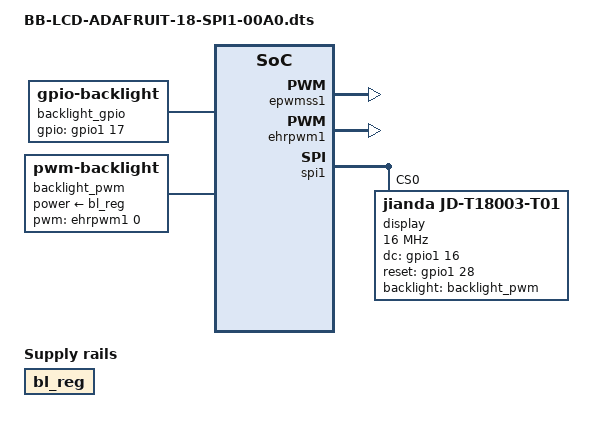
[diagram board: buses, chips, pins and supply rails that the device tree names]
/*
 * Copyright (C) 2013 CircuitCo
 * Copyright (C) 2018 Drew Fustini <drew@beagleboard.org>
 *
 * Adafruit 1.8" TFT LCD on SPI1 bus using tinydrm st7735r driver
 *
 * LICENSE:
 * --------
 * This program is free software; you can redistribute it and/or modify
 * it under the terms of the GNU General Public License version 2 as
 * published by the Free Software Foundation.
 *
 * DOCUMENTATION:
 * --------------
 * This file was copied from src/arm/BB-SPIDEV1-00A0.dts and modified
 * by Drew Fustini based on an exmample from David Lechner.
 *
 * This is the Adafruit 1.8" TFT LCD:
 * https://www.adafruit.com/products/358
 *
 * It should be connected to BeagleBone SPI1 bus:
 *
 *   P9.12 <--> reset
 *   P9.14 <--> lite (pwm) [OPTIONAL]
 *   P9.15 <--> dc
 *   P9.23 <--> lite (gpio) [OPTIONAL]
 *   P9.28 <--> tft_cs
 *   P9.30 <--> mosi
 *   P9.31 <--> clk
 *
 * This overlay will load the mainline tinydrm st7735r driver by David Lechner:
 * https://github.com/torvalds/linux/blob/master/drivers/gpu/drm/tinydrm/st7735r.c
 *
 * Tested with 4.16.0-rc2-bone3 kernel on Debian 9.3 image
 *
 * Run libdrm modetest for colorbar test based on instructions from:
 * https://github.com/notro/tinydrm/wiki/Development#modetest
 *
 * modetest -M "st7735r" -c #this will display connector id
 * modetest -M "st7735r" -s 28:128x160 #connector id and resolution
 * # you should now see a color bar on the LCD
 *
 * Mailing list post with more information:
 * https://groups.google.com/d/msg/beagleboard/GuMQIP_XCW0/b3lxbx_8AwAJ
 *
 * GitHub Gist with testing results:
 * https://gist.github.com/pdp7/aee5664598059c9b9a9020f107957f80
 *
 * Discussion with notro on how to test tinydrm driver:
 * https://github.com/notro/tinydrm/issues/1#issuecomment-367279037
 */

#include <dt-bindings/gpio/gpio.h>
#include <dt-bindings/pinctrl/am33xx.h>
#include <dt-bindings/board/am335x-bbw-bbb-base.h>

/dts-v1/;
/plugin/;

/ {

	/*
	 * Free up the pins used by the cape from the pinmux helpers.
	 */
	fragment@0 {
		target = <&ocp>;
		__overlay__ {
			P9_12_pinmux { status = "disabled"; };	/* lcd reset */
			P9_14_pinmux { status = "disabled"; };  /* lcd pwm backlight (OPTIONAL) */
			P9_15_pinmux { status = "disabled"; };	/* lcd dc */
			P9_23_pinmux { status = "disabled"; };	/* lcd gpio backlight (OPTIONAL) */
			P9_28_pinmux { status = "disabled"; };	/* spi1_cs0 */
			P9_29_pinmux { status = "disabled"; };	/* spi1_d0 */
			P9_30_pinmux { status = "disabled"; };	/* spi1_d1 */
			P9_31_pinmux { status = "disabled"; };	/* spi1_sclk */
		};
	};

	fragment@1 {
		target = <&am33xx_pinmux>;
		__overlay__ {
			/* default state has all gpios released and mode set to uart1 */
			bb_spi1_pins: pinmux_bb_spi1_pins {
				pinctrl-single,pins = <
					0x190 0x33	/* mcasp0_aclkx.spi1_sclk, INPUT_PULLUP | MODE3 */
					0x194 0x33	/* mcasp0_fsx.spi1_d0, INPUT_PULLUP | MODE3 */
					0x198 0x13	/* mcasp0_axr0.spi1_d1, OUTPUT_PULLUP | MODE3 */
					0x19c 0x13	/* mcasp0_ahclkr.spi1_cs0, OUTPUT_PULLUP | MODE3 */
					// 0x164 0x12	/* eCAP0_in_PWM0_out.spi1_cs1 OUTPUT_PULLUP | MODE2 */
				>;
			};

			backlight_pwm_pins: pinmux_backlight_pwm_pins {
				pinctrl-single,pins = <
					BONE_P9_14 0x06 /* gpmc_a2.ehrpwm1a, OMAP_MUX_MODE6 | AM33XX_PIN_OUTPUT */
				>;
			};  /* gpmc_a2.ehrpwm1a */
		};
	};

	fragment@2 {
		target = <&epwmss1>;
		__overlay__ {
			status = "okay";
		};
	};

	fragment@3 {
		target = <&ehrpwm1>;
		__overlay__ {
			pinctrl-names = "default";
			pinctrl-0 = <&backlight_pwm_pins>;
			status = "okay";
		};
	};

	fragment@4 {
		target-path = "/";
		__overlay__ {

			bl_reg: backlight-regulator {
				compatible = "regulator-fixed";
				regulator-name = "backlight";
				regulator-always-on;
				regulator-boot-on;
			};

			/* backlight is optional */
			backlight_gpio: backlight_gpio {
				compatible = "gpio-backlight";
				gpios = <&gpio1 17 GPIO_ACTIVE_HIGH>;
				// connect lcd lite pin to P9.23 which is gpio1[17]
				// refer to https://elinux.org/Beagleboard:Cape_Expansion_Headers
			};

			/*
			 * Turn the PWM backlight on by setting bl_power to 0:
			 * echo 0 > /sys/devices/platform/backlight_pwm/backlight/backlight_pwm/bl_power
			 */
			backlight_pwm: backlight_pwm {
				// P9.14 <--> lite (pwm-backlight EHRPWM1A)
				status = "okay";
				compatible = "pwm-backlight";
				pwms = <&ehrpwm1 0 500000 0>;
				brightness-levels = <
					0  1  2  3  4  5  6  7  8  9
					10 11 12 13 14 15 16 17 18 19
					20 21 22 23 24 25 26 27 28 29
					30 31 32 33 34 35 36 37 38 39
					40 41 42 43 44 45 46 47 48 49
					50 51 52 53 54 55 56 57 58 59
					60 61 62 63 64 65 66 67 68 69
					70 71 72 73 74 75 76 77 78 79
					80 81 82 83 84 85 86 87 88 89
					90 91 92 93 94 95 96 97 98 99
					100
				>;
				default-brightness-level = <100>;
				power-supply = <&bl_reg>;
			};
		};
	};

	fragment@5 {
		target = <&spi1>;
		__overlay__ {
			#address-cells = <1>;
			#size-cells = <0>;

			status = "okay";
			pinctrl-names = "default";
			pinctrl-0 = <&bb_spi1_pins>;

			display@0{
				status = "okay";
				compatible = "jianda,jd-t18003-t01", "sitronix,st7735r";
				reg = <0>;
				spi-max-frequency = <16000000>;
				dc-gpios = <&gpio1 16 0>;      // lcd dc    P9.15 gpio1[16]
				reset-gpios = <&gpio1 28 0>;   // lcd reset P9.12 gpio1[28]
				// backlight is optional
				// choose either pwm or gpio control
				//backlight = <&backlight_gpio>; // lcd lite  P9.23 gpio1[17]
				backlight = <&backlight_pwm>;    // lcd lite  P9.14 gpmc_a2.ehrpwm1a
				// refer to https://elinux.org/Beagleboard:Cape_Expansion_Headers
				// rotation is optional
				// rotation = <270>;
			};
		};
	};
};
